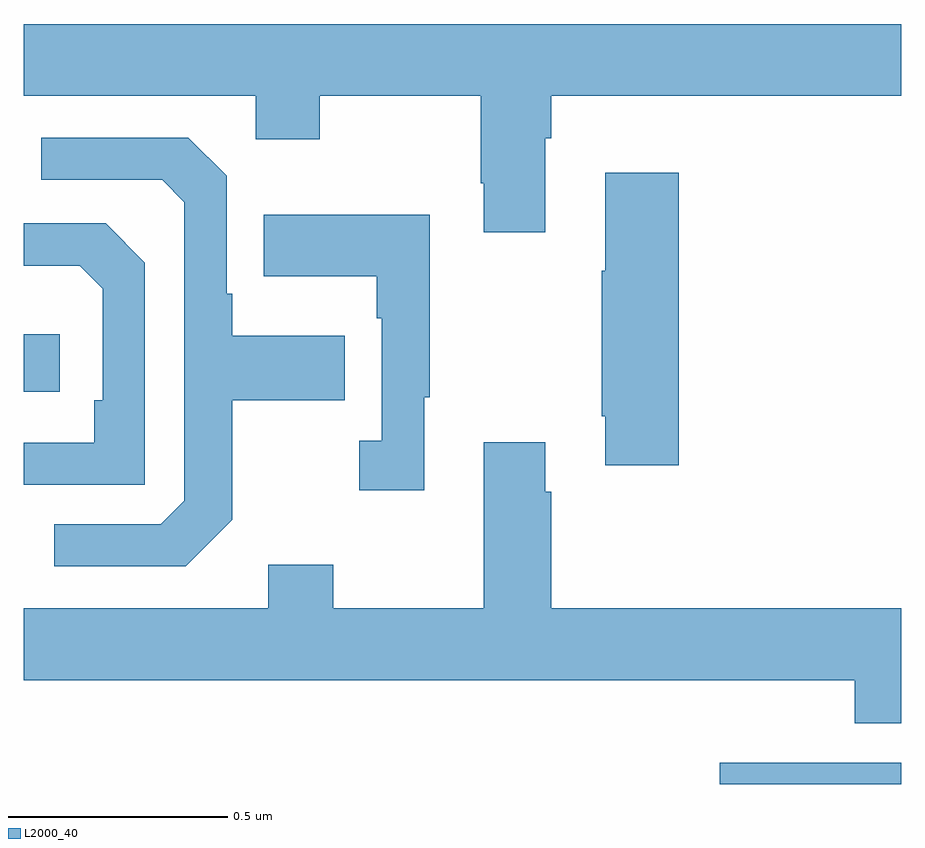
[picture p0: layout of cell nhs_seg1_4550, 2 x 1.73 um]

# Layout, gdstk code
import gdstk
lib = gdstk.Library(unit=1e-6, precision=1e-09)
def R(c, l, rs):  # rectangles x0, y0, x1, y1
    for r in rs: c.add(gdstk.rectangle(r[:2], r[2:], *l))
def P(c, l, *ps):  # polygons
    for p in ps: c.add(gdstk.Polygon(p, *l))
L2000_40 = (2000, 40)

nhs_seg1_4550 = lib.new_cell('nhs_seg1_4550')
R(nhs_seg1_4550, L2000_40, [(169.587,514.199,170,514.248), (168,515.094,168.082,515.224)])
P(nhs_seg1_4550, L2000_40, [(169.189,515.672),(169.202,515.672),(169.202,515.768),(170,515.768),(170,515.932),(168,515.932),(168,515.768),(168.528,515.768),(168.528,515.669),(168.675,515.669),(168.675,515.768),(169.042,515.768),(169.042,515.569),(169.049,515.569),(169.049,515.457),(169.189,515.457)],
  [(168.475,514.801),(168.475,515.074),(168.731,515.074),(168.731,515.221),(168.475,515.221),(168.475,515.317),(168.462,515.317),(168.462,515.586),(168.375,515.673),(168.039,515.673),(168.039,515.577),(168.315,515.577),(168.366,515.526),(168.366,514.845),(168.312,514.791),(168.069,514.791),(168.069,514.695),(168.369,514.695)],
  [(169.493,515.593),(169.325,515.593),(169.325,515.369),(169.318,515.369),(169.318,515.038),(169.325,515.038),(169.325,514.926),(169.493,514.926)],
  [(168.913,515.081),(168.925,515.081),(168.925,515.497),(168.547,515.497),(168.547,515.357),(168.804,515.357),(168.804,515.261),(168.816,515.261),(168.816,514.982),(168.765,514.982),(168.765,514.869),(168.913,514.869)],
  [(168.276,515.388),(168.186,515.478),(168,515.478),(168,515.381),(168.127,515.381),(168.18,515.328),(168.18,515.074),(168.16,515.074),(168.16,514.977),(168,514.977),(168,514.881),(168.276,514.881)],
  [(170,514.6),(169.202,514.6),(169.202,514.865),(169.189,514.865),(169.189,514.978),(169.049,514.978),(169.049,514.6),(168.705,514.6),(168.705,514.699),(168.557,514.699),(168.557,514.6),(168,514.6),(168,514.436),(169.895,514.436),(169.895,514.337),(170,514.337)])

lib.write_gds('nhs_seg1_4550.gds')
